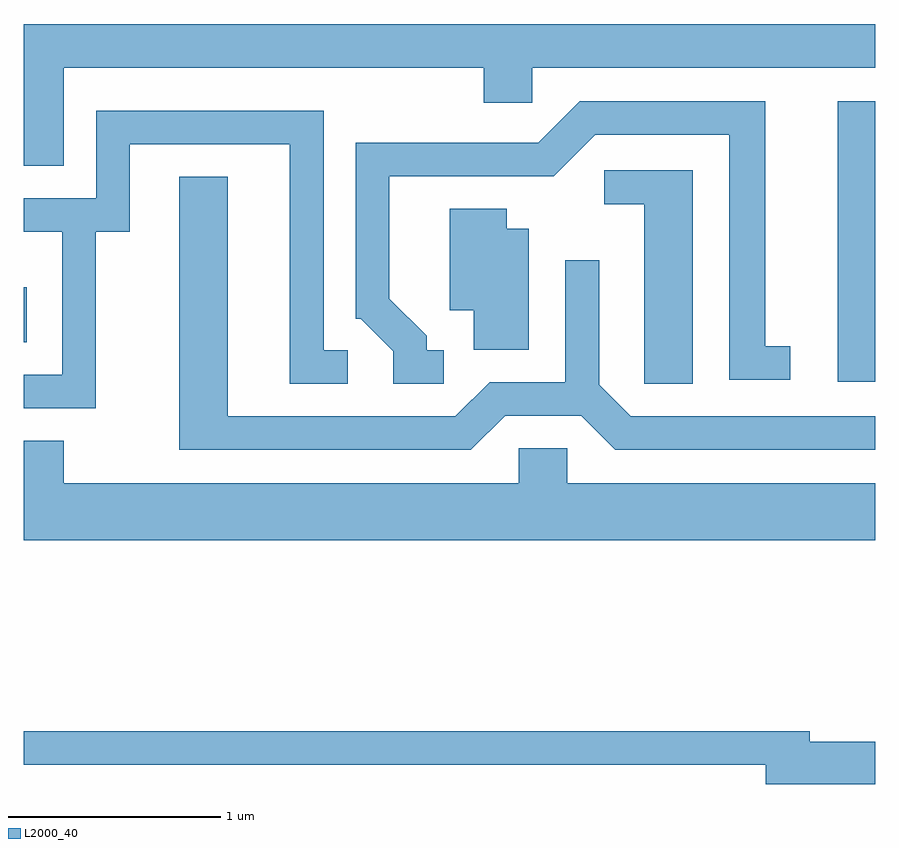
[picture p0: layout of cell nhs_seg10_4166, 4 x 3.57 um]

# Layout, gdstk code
import gdstk
lib = gdstk.Library(unit=1e-6, precision=1e-09)
def R(c, l, rs):  # rectangles x0, y0, x1, y1
    for r in rs: c.add(gdstk.rectangle(r[:2], r[2:], *l))
def P(c, l, *ps):  # polygons
    for p in ps: c.add(gdstk.Polygon(p, *l))
L2000_40 = (2000, 40)

nhs_seg10_4166 = lib.new_cell('nhs_seg10_4166')
R(nhs_seg10_4166, L2000_40, [(311.436,2156.841,311.611,2158.159), (307.611,2157.026,307.624,2157.284)])
P(nhs_seg10_4166, L2000_40, [(307.799,2158.316),(309.771,2158.316),(309.771,2158.151),(309.999,2158.151),(309.999,2158.316),(311.611,2158.316),(311.611,2158.522),(307.611,2158.522),(307.611,2157.856),(307.799,2157.856)],
  [(309.583,2156.989),(309.504,2156.989),(309.504,2157.057),(309.329,2157.232),(309.329,2157.806),(310.102,2157.806),(310.297,2158.001),(310.926,2158.001),(310.926,2156.851),(311.213,2156.851),(311.213,2157.009),(311.094,2157.009),(311.094,2158.159),(310.224,2158.159),(310.029,2157.964),(309.171,2157.964),(309.171,2157.136),(309.194,2157.136),(309.346,2156.984),(309.346,2156.831),(309.583,2156.831)],
  [(307.949,2157.546),(308.109,2157.546),(308.109,2157.956),(308.861,2157.956),(308.861,2156.831),(309.133,2156.831),(309.133,2156.989),(309.019,2156.989),(309.019,2158.114),(307.951,2158.114),(307.951,2157.704),(307.611,2157.704),(307.611,2157.546),(307.791,2157.546),(307.791,2156.874),(307.611,2156.874),(307.611,2156.716),(307.949,2156.716)],
  [(310.754,2157.834),(310.338,2157.834),(310.338,2157.676),(310.526,2157.676),(310.526,2156.831),(310.754,2156.831)],
  [(309.872,2156.681),(310.229,2156.681),(310.389,2156.521),(311.611,2156.521),(311.611,2156.679),(310.462,2156.679),(310.314,2156.827),(310.314,2157.413),(310.156,2157.413),(310.156,2156.839),(309.799,2156.839),(309.639,2156.679),(308.569,2156.679),(308.569,2157.804),(308.341,2157.804),(308.341,2156.521),(309.712,2156.521)],
  [(309.984,2157.559),(309.879,2157.559),(309.879,2157.654),(309.611,2157.654),(309.611,2157.176),(309.726,2157.176),(309.726,2156.991),(309.984,2156.991)],
  [(311.611,2156.364),(310.164,2156.364),(310.164,2156.529),(309.936,2156.529),(309.936,2156.364),(307.799,2156.364),(307.799,2156.564),(307.611,2156.564),(307.611,2156.096),(311.611,2156.096)],
  [(311.611,2155.149),(311.304,2155.149),(311.304,2155.199),(307.611,2155.199),(307.611,2155.041),(311.096,2155.041),(311.096,2154.951),(311.611,2154.951)])

lib.write_gds('nhs_seg10_4166.gds')
